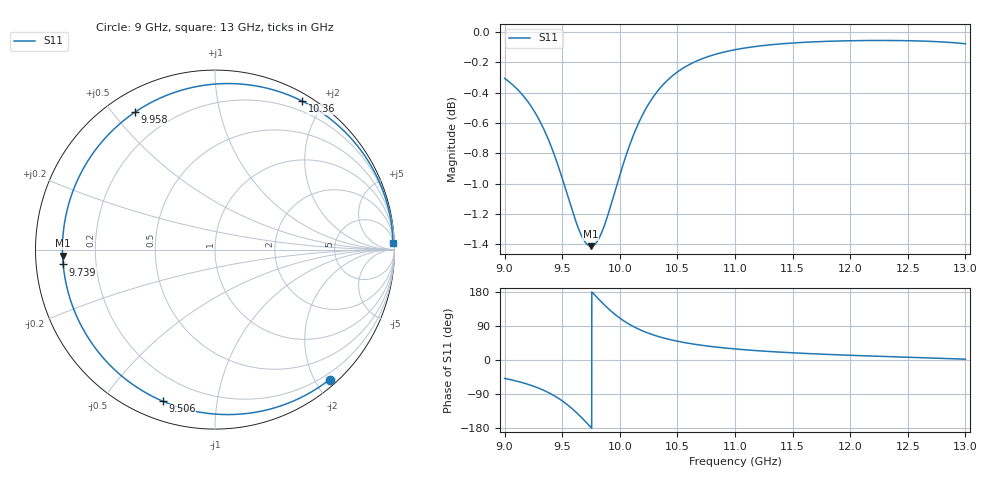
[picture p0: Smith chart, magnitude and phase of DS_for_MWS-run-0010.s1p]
! TOUCHSTONE file generated by CST DESIGN STUDIO
! Date and time: Tue Feb  4 16:05:20 2025
! Project name: C:\Work\MatlabApps\UnitCellOptimizationMatlab\CST\unitcell.cst
! Tree item: Tasks\Sweep1\SPara1\S-Parameters
! Header version: 2024
! Port assignment regex: !\s*Touchstone port\s*([0-9]+)\s*=\s*(CST MWS port|CST DES external port|CST DES block port)\s*(.+)\s* \(\"(.*)\"\)(\s*mode\s*([0-9]+))?.*
! Touchstone port assignment:
! Touchstone port 1 = CST DES external port 1 ("")
# GHz S MA R 50
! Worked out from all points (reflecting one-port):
!   4001 points, 9 GHz to 13 GHz, reference 50 ohm
!   lowest |S11| = -1.4 dB at 9.749 GHz (marker M1), VSWR 12.33, Z = 4.06 - j1.01 ohm
!   phase of S11 starts at -49 deg and turns -309 deg over the sweep
!   S11 on the Smith chart (normalised r, x): 9 GHz: 0.10, -2.21; 9.506 GHz: 0.08, -0.71; 9.739 GHz: 0.08, -0.05; 9.958 GHz: 0.08, +0.57; 10.36 GHz: 0.08, +1.75; 13 GHz: 12, +50
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9  0.9653 -48.6
9.14  0.9548 -58.6
9.268  0.9401 -71.0
9.4  0.9176 -89.0
9.452  0.9063 -98.2
9.5  0.8949 -107.8
9.506  0.8934 -109.1
9.563  0.8792 -122.4
9.617  0.8664 -136.8
9.682  0.8547 -156.2
9.739  0.8501 -174.4
9.749  0.85 -177.7
9.793  0.852 168.1
9.84  0.8584 153.2
9.9  0.8711 135.6
9.958  0.886 120.4
10  0.897 110.6
10.081  0.9166 94.5
10.178  0.9357 79.4
10.267  0.9489 68.7
10.363  0.9595 59.5
10.5  0.97 49.6
10.718  0.9799 38.5
11  0.9865 29.2
11.5  0.9915 19.0
12  0.9933 12.4
12.5  0.9933 7.3
13  0.991 2.2
